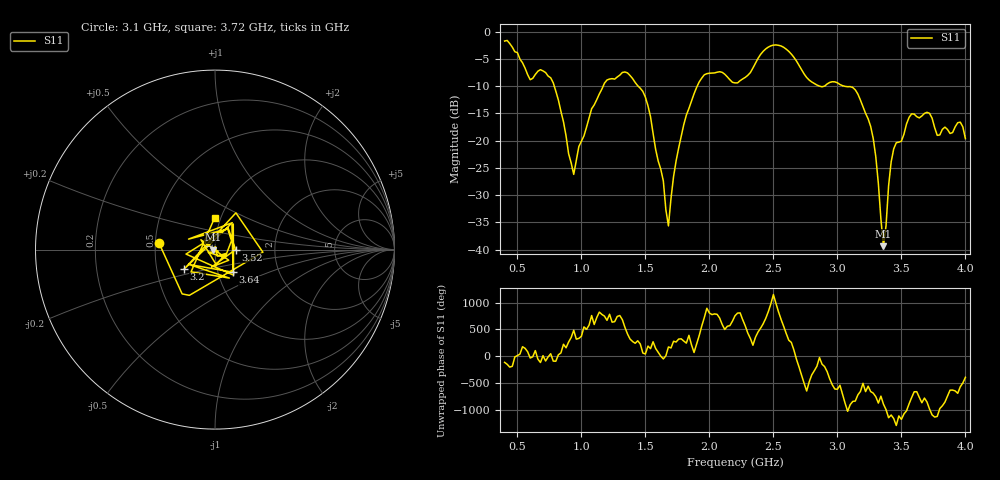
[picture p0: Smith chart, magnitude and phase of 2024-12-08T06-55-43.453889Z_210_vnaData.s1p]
!Created with skrf (http://scikit-rf.org).
# Hz S RI R 50.0
!freq ReS11 ImS11
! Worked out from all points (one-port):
!   181 points, 400 MHz to 4 GHz, reference 50 ohm
!   lowest |S11| = -39.4 dB at 3.36 GHz (marker M1), VSWR 1.02, Z = 48.9 - j0.0336 ohm
!   |S11| at or under -10 dB: 788 MHz to 1.17 GHz (381.9 MHz wide, 39 % of centre); 1.443 GHz to 1.905 GHz (461.3 MHz wide, 27.6 % of centre); 3.054 GHz to end of sweep (the widest 3 of 4)
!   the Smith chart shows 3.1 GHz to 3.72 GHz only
!   S11 on the Smith chart (normalised r, x): 3.1 GHz: 0.52, +0.04; 3.2 GHz: 0.69, -0.16; 3.52 GHz: 1.26, +0.00; 3.64 GHz: 1.18, -0.31; 3.72 GHz: 0.94, +0.34
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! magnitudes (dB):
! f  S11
! 400 MHz  -1.7
! 600 MHz  -8.8
! 760 MHz  -8.5
! 860 MHz  -16.6
! 940 MHz  -26.2
! 1.08 GHz  -14.1
! 1.3 GHz  -8.0
! 1.5 GHz  -12.0
! 1.64 GHz  -27.4
! 1.68 GHz  -35.7
! 1.76 GHz  -21.3
! 1.96 GHz  -7.9
! 2.2 GHz  -9.4
! 2.48 GHz  -2.6
! 2.66 GHz  -4.7
! 2.84 GHz  -9.8
! 3.1 GHz  -10.1
! 3.2 GHz  -13.8
! 3.28 GHz  -19.6
! 3.36 GHz  -39.4
! 3.42 GHz  -23.9
! 3.52 GHz  -18.8
! 3.56 GHz  -15.7
! 3.64 GHz  -15.8
! 3.72 GHz  -15.0
! 3.78 GHz  -19.0
! 3.96 GHz  -16.6
! 4 GHz  -19.6
